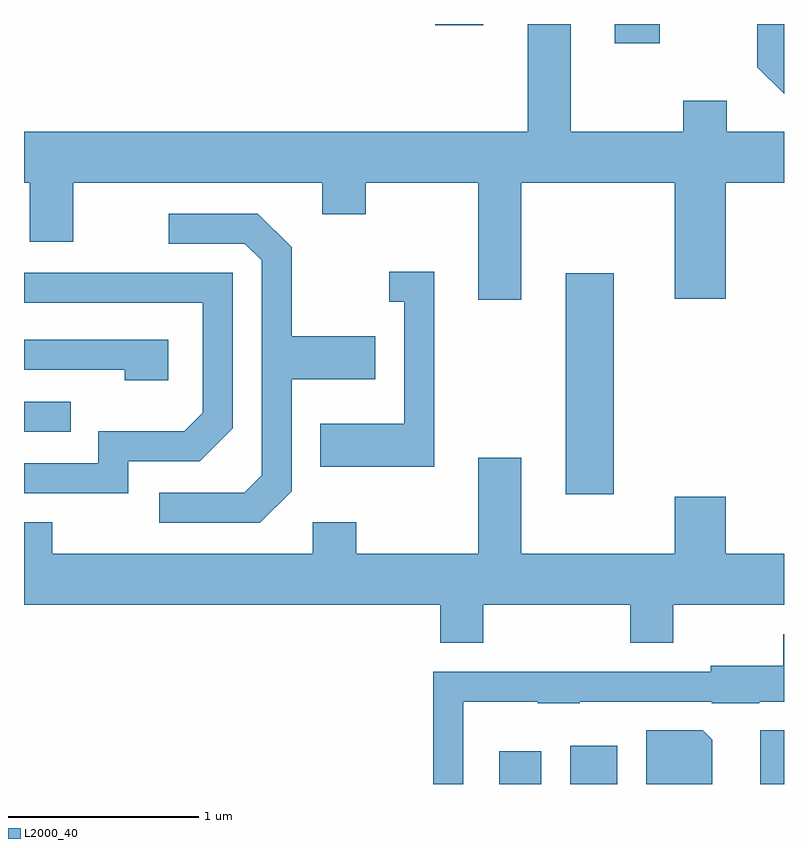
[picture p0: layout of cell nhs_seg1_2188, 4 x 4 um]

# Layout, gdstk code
import gdstk
lib = gdstk.Library(unit=1e-6, precision=1e-09)
def R(c, l, rs):  # rectangles x0, y0, x1, y1
    for r in rs: c.add(gdstk.rectangle(r[:2], r[2:], *l))
def P(c, l, *ps):  # polygons
    for p in ps: c.add(gdstk.Polygon(p, *l))
L2000_40 = (2000, 40)

nhs_seg1_2188 = lib.new_cell('nhs_seg1_2188')
R(nhs_seg1_2188, L2000_40, [(254.111,929.712,254.334,929.884), (254.486,929.712,254.734,929.914), (255.486,929.712,255.611,929.994), (254.461,931.236,254.714,932.399), (251.611,931.566,251.858,931.724), (254.721,933.611,254.958,933.712), (253.776,933.706,254.029,933.712)])
P(nhs_seg1_2188, L2000_40, [(254.229,932.876),(255.036,932.876),(255.036,932.266),(255.304,932.266),(255.304,932.876),(255.611,932.876),(255.611,933.144),(255.309,933.144),(255.309,933.309),(255.081,933.309),(255.081,933.144),(254.489,933.144),(254.489,933.712),(254.261,933.712),(254.261,933.144),(251.611,933.144),(251.611,932.876),(251.641,932.876),(251.641,932.566),(251.869,932.566),(251.869,932.876),(253.181,932.876),(253.181,932.711),(253.409,932.711),(253.409,932.876),(254.001,932.876),(254.001,932.261),(254.229,932.261)],
  [(255.611,933.712),(255.471,933.712),(255.471,933.484),(255.611,933.344)],
  [(253.019,931.254),(253.019,931.841),(253.459,931.841),(253.459,932.069),(253.019,932.069),(253.019,932.537),(252.842,932.714),(252.373,932.714),(252.373,932.556),(252.774,932.556),(252.861,932.469),(252.861,931.337),(252.769,931.244),(252.323,931.244),(252.323,931.086),(252.852,931.086)],
  [(253.769,932.409),(253.533,932.409),(253.533,932.251),(253.611,932.251),(253.611,931.609),(253.171,931.609),(253.171,931.381),(253.769,931.381)],
  [(252.159,931.411),(252.537,931.411),(252.709,931.584),(252.709,932.404),(251.611,932.404),(251.611,932.246),(252.551,932.246),(252.551,931.667),(252.454,931.569),(252.001,931.569),(252.001,931.399),(251.611,931.399),(251.611,931.241),(252.159,931.241)],
  [(252.369,932.049),(251.611,932.049),(251.611,931.891),(252.141,931.891),(252.141,931.836),(252.369,931.836)],
  [(254.029,930.656),(254.801,930.656),(254.801,930.456),(255.029,930.456),(255.029,930.656),(255.611,930.656),(255.611,930.924),(255.304,930.924),(255.304,931.224),(255.036,931.224),(255.036,930.924),(254.229,930.924),(254.229,931.429),(254.001,931.429),(254.001,930.924),(253.359,930.924),(253.359,931.089),(253.131,931.089),(253.131,930.924),(251.759,930.924),(251.759,931.089),(251.611,931.089),(251.611,930.656),(253.801,930.656),(253.801,930.456),(254.029,930.456)],
  [(253.924,930.146),(254.315,930.146),(254.315,930.136),(254.535,930.136),(254.535,930.146),(255.23,930.146),(255.23,930.136),(255.48,930.136),(255.48,930.146),(255.611,930.146),(255.611,930.499),(255.606,930.499),(255.606,930.334),(255.226,930.334),(255.226,930.304),(253.766,930.304),(253.766,929.712),(253.924,929.712)],
  [(255.234,929.944),(255.184,929.994),(254.886,929.994),(254.886,929.712),(255.234,929.712)])

lib.write_gds('nhs_seg1_2188.gds')
